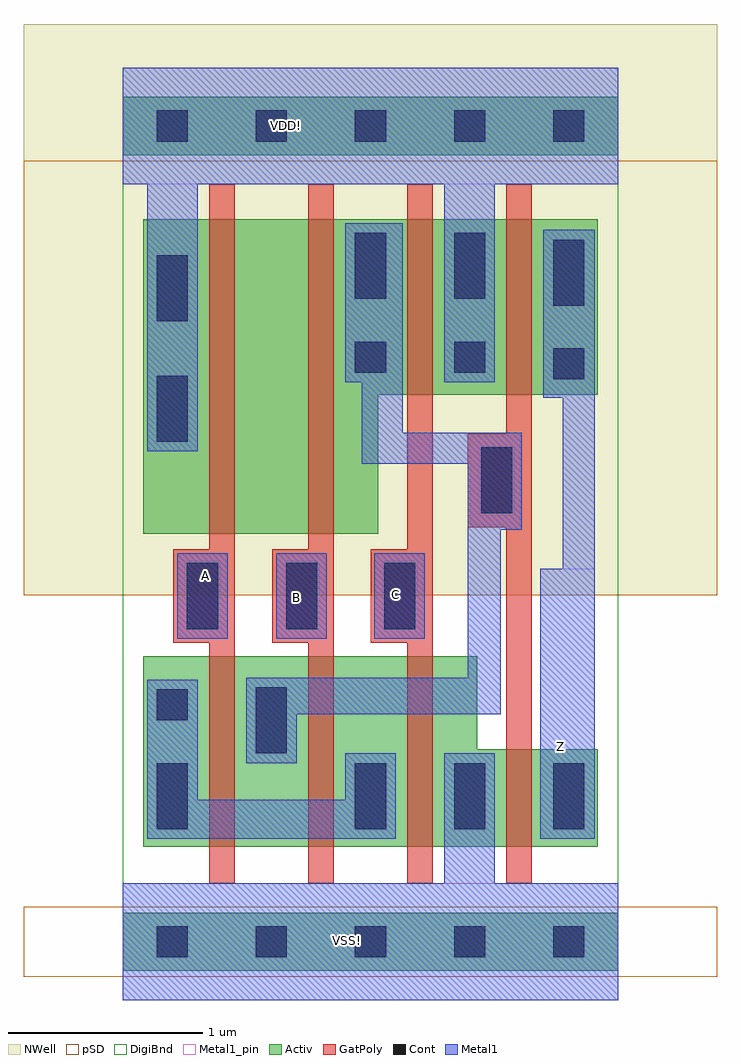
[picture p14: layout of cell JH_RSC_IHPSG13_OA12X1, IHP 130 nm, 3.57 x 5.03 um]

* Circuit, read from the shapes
.subckt JH_RSC_IHPSG13_OA12X1 A B C VDD! VSS! Z
XM1 n1 A n2 VSS! sg13_lv_nmos w=0.98u l=0.13u
XM2 n2 B n1 VSS! sg13_lv_nmos w=0.98u l=0.13u
XM3 VSS! C n2 VSS! sg13_lv_nmos w=0.98u l=0.13u
XM4 Z n1 VSS! VSS! sg13_lv_nmos w=0.5u l=0.13u
XM5 n3 A VDD! VDD! sg13_lv_pmos w=1.62u l=0.13u
XM6 n1 B n3 VDD! sg13_lv_pmos w=1.62u l=0.13u
XM7 VDD! C n1 VDD! sg13_lv_pmos w=0.905u l=0.13u
XM8 Z n1 VDD! VDD! sg13_lv_pmos w=0.905u l=0.13u
.ends

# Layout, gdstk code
import gdstk
lib = gdstk.Library(unit=1e-6, precision=1e-09)
def R(c, l, rs):  # rectangles x0, y0, x1, y1
    for r in rs: c.add(gdstk.rectangle(r[:2], r[2:], *l))
def A(c, l, x, y, w, h, nx, ny, dx, dy):  # array of equal rectangles
    R(c, l, [(x+i*dx, y+j*dy, x+i*dx+w, y+j*dy+h) for i in range(nx) for j in range(ny)])
def P(c, l, *ps):  # polygons
    for p in ps: c.add(gdstk.Polygon(p, *l))
Activ = (1, 0)
GatPoly = (5, 0)
Cont = (6, 0)
Metal1 = (8, 0)
Metal1_pin = (8, 2)
pSD = (14, 0)
DigiBnd = (16, 0)
NWell = (31, 0)

jh_rsc_ihpsg13_oa12x1 = lib.new_cell('JH_RSC_IHPSG13_OA12X1')
R(jh_rsc_ihpsg13_oa12x1, Activ, [(0,-0.15,2.55,0.15), (0,4.05,2.55,4.35)])
P(jh_rsc_ihpsg13_oa12x1, Activ, [(0.105,2.1),(0.105,3.72),(2.445,3.72),(2.445,2.815),(1.315,2.815),(1.315,2.1)],
  [(0.105,0.49),(0.105,1.47),(1.825,1.47),(1.825,0.99),(2.445,0.99),(2.445,0.49)])
P(jh_rsc_ihpsg13_oa12x1, GatPoly, [(1.465,0.3),(1.465,1.54),(1.275,1.54),(1.275,2.02),(1.465,2.02),(1.465,3.9),(1.595,3.9),(1.595,0.3)],
  [(0.445,0.3),(0.445,1.54),(0.26,1.54),(0.26,2.02),(0.445,2.02),(0.445,3.9),(0.575,3.9),(0.575,0.3)],
  [(0.955,0.3),(0.955,1.54),(0.77,1.54),(0.77,2.02),(0.955,2.02),(0.955,3.9),(1.085,3.9),(1.085,0.3)],
  [(1.975,0.3),(1.975,2.135),(1.775,2.135),(1.775,2.615),(1.975,2.615),(1.975,3.9),(2.105,3.9),(2.105,0.3)])
A(jh_rsc_ihpsg13_oa12x1, Cont, 0.175, -0.08, 0.16, 0.16, 5, 2, 0.51, 4.2)
A(jh_rsc_ihpsg13_oa12x1, Cont, 1.195, 0.58, 0.16, 0.34, 3, 1, 0.51, 0)
R(jh_rsc_ihpsg13_oa12x1, Cont, [(0.175,0.58,0.335,0.92), (0.685,0.97,0.845,1.31), (0.175,1.14,0.335,1.3), (0.33,1.61,0.49,1.95), (0.84,1.61,1,1.95), (1.345,1.61,1.505,1.95), (1.845,2.205,2.005,2.545), (0.175,2.575,0.335,2.915), (2.215,2.895,2.375,3.055), (1.195,2.93,1.355,3.09), (1.705,2.93,1.865,3.09), (0.175,3.195,0.335,3.535), (2.215,3.275,2.375,3.615), (1.195,3.31,1.355,3.65), (1.705,3.31,1.865,3.65)])
R(jh_rsc_ihpsg13_oa12x1, Metal1, [(0,-0.3,2.55,0.3), (1.655,0.3,1.915,0.97), (0.28,1.56,0.54,2), (0.79,1.56,1.05,2), (1.295,1.56,1.555,2)])
P(jh_rsc_ihpsg13_oa12x1, Metal1, [(0.125,0.53),(0.125,1.35),(0.385,1.35),(0.385,0.73),(1.145,0.73),(1.145,0.97),(1.405,0.97),(1.405,0.53)],
  [(0.125,2.525),(0.125,3.9),(0,3.9),(0,4.5),(2.55,4.5),(2.55,3.9),(1.915,3.9),(1.915,2.88),(1.655,2.88),(1.655,3.9),(0.385,3.9),(0.385,2.525)],
  [(2.15,0.53),(2.15,1.92),(2.265,1.92),(2.265,2.8),(2.165,2.8),(2.165,3.665),(2.43,3.665),(2.43,0.53)],
  [(0.635,0.92),(0.635,1.36),(1.775,1.36),(1.775,2.46),(1.23,2.46),(1.23,2.88),(1.145,2.88),(1.145,3.7),(1.44,3.7),(1.44,2.62),(2.055,2.62),(2.055,2.12),(1.945,2.12),(1.945,1.17),(0.895,1.17),(0.895,0.92)])
R(jh_rsc_ihpsg13_oa12x1, Metal1_pin, [(0,-0.3,2.55,0.3), (2.15,0.53,2.43,1.92), (0.28,1.56,0.54,2), (0.79,1.56,1.05,2), (1.295,1.56,1.555,2), (0,3.9,2.55,4.5)])
R(jh_rsc_ihpsg13_oa12x1, pSD, [(-0.51,-0.18,3.06,0.18), (-0.51,1.785,3.06,4.02)])
R(jh_rsc_ihpsg13_oa12x1, DigiBnd, [(0,-0.3,2.55,4.5)])
R(jh_rsc_ihpsg13_oa12x1, NWell, [(-0.51,1.785,3.06,4.725)])
jh_rsc_ihpsg13_oa12x1.add(gdstk.Label('Z', (2.255,1.005), layer=8, texttype=2))
jh_rsc_ihpsg13_oa12x1.add(gdstk.Label('VDD!', (0.84,4.2), layer=8, texttype=2))
jh_rsc_ihpsg13_oa12x1.add(gdstk.Label('VSS!', (1.155,0.005), layer=8, texttype=2))
jh_rsc_ihpsg13_oa12x1.add(gdstk.Label('C', (1.405,1.79), layer=8, texttype=2))
jh_rsc_ihpsg13_oa12x1.add(gdstk.Label('A', (0.425,1.885), layer=8, texttype=2))
jh_rsc_ihpsg13_oa12x1.add(gdstk.Label('B', (0.895,1.77), layer=8, texttype=2))

lib.write_gds('JH_RSC_IHPSG13_OA12X1.gds')
